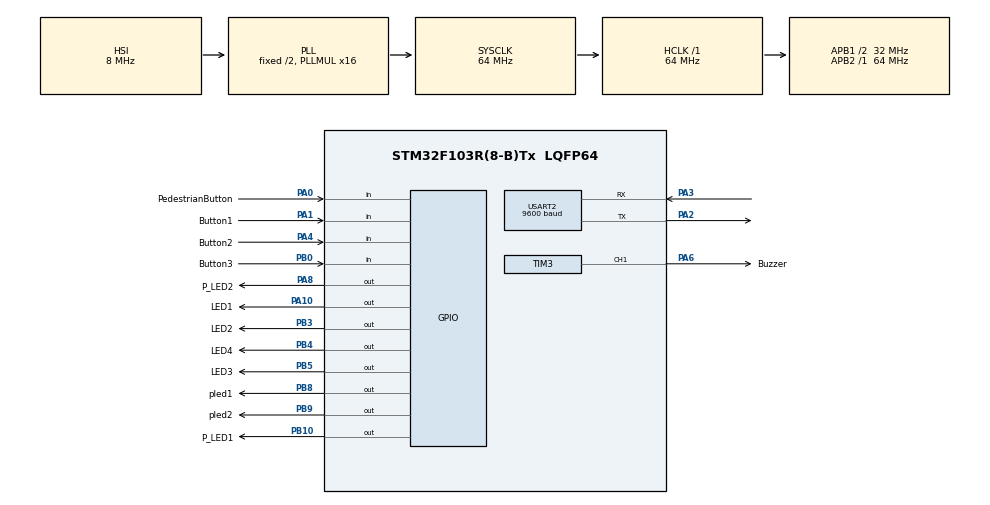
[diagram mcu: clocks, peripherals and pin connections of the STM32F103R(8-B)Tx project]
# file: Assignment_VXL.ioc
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Mcu.Family=STM32F1
Mcu.Name=STM32F103R(8-B)Tx
Mcu.Package=LQFP64
NVIC.PriorityGroup=NVIC_PRIORITYGROUP_4
NVIC.TIM2_IRQn=true\:0\:0\:false\:false\:true\:true\:true
NVIC.USART2_IRQn=true\:0\:0\:false\:false\:true\:true\:true
PA0-WKUP.GPIO_Label=PedestrianButton
PA0-WKUP.GPIO_PuPd=GPIO_PULLUP
PA0-WKUP.Signal=GPIO_Input
PA1.GPIO_Label=Button1
PA1.GPIO_PuPd=GPIO_PULLUP
PA1.Signal=GPIO_Input
PA10.GPIO_Label=LED1
PA10.Signal=GPIO_Output
PA13.Mode=Serial_Wire
PA13.Signal=SYS_JTMS-SWDIO
PA14.Mode=Serial_Wire
PA14.Signal=SYS_JTCK-SWCLK
PA2.Mode=Asynchronous
PA2.Signal=USART2_TX
PA3.Mode=Asynchronous
PA3.Signal=USART2_RX
PA4.GPIO_Label=Button2
PA4.GPIO_PuPd=GPIO_PULLUP
PA4.Signal=GPIO_Input
PA6.GPIO_Label=Buzzer
PA6.Signal=S_TIM3_CH1
PA8.GPIO_Label=P_LED2
PA8.Signal=GPIO_Output
PB0.GPIO_Label=Button3
PB0.GPIO_PuPd=GPIO_PULLUP
PB0.Signal=GPIO_Input
PB10.GPIO_Label=P_LED1
PB10.Signal=GPIO_Output
PB3.GPIO_Label=LED2
PB3.Signal=GPIO_Output
PB4.GPIO_Label=LED4
PB4.Signal=GPIO_Output
PB5.GPIO_Label=LED3
PB5.Signal=GPIO_Output
PB8.GPIO_Label=pled1
PB8.Signal=GPIO_Output
PB9.GPIO_Label=pled2
PB9.Signal=GPIO_Output
ProjectManager.HeapSize=0x200
ProjectManager.StackSize=0x400
ProjectManager.TargetToolchain=STM32CubeIDE
RCC.AHBFreq_Value=64000000
RCC.APB1CLKDivider=RCC_HCLK_DIV2
RCC.APB1Freq_Value=32000000
RCC.APB1TimFreq_Value=64000000
RCC.APB2Freq_Value=64000000
RCC.APB2TimFreq_Value=64000000
RCC.HCLKFreq_Value=64000000
RCC.PLLMUL=RCC_PLL_MUL16
RCC.SYSCLKFreq_VALUE=64000000
RCC.SYSCLKSource=RCC_SYSCLKSOURCE_PLLCLK
RCC.USBFreq_Value=64000000
SH.S_TIM3_CH1.0=TIM3_CH1,PWM Generation1 CH1
TIM2.Period=9999
TIM2.Prescaler=63
TIM3.Channel-PWM\ Generation1\ CH1=TIM_CHANNEL_1
TIM3.Period=999
TIM3.Prescaler=63
USART2.BaudRate=9600
USART2.VirtualMode=VM_ASYNC
VP_TIM2_VS_ClockSourceINT.Mode=Internal
VP_TIM3_VS_ClockSourceINT.Mode=Internal
board=custom

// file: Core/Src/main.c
/* USER CODE BEGIN Header */
/**
  ******************************************************************************
  * @file           : main.c
  * @brief          : Main program body
  ******************************************************************************
  * @attention
  *
  * <h2><center>&copy; Copyright (c) 2022 STMicroelectronics.
  * All rights reserved.</center></h2>
  *
  * This software component is licensed by ST under BSD 3-Clause license,
  * the "License"; You may not use this file except in compliance with the
  * License. You may obtain a copy of the License at:
  *                        opensource.org/licenses/BSD-3-Clause
  *
  ******************************************************************************
  */
/* USER CODE END Header */
#include <Device_Functions.h>
#include "main.h"

/* USER CODE BEGIN Includes */
#include "Software_timer.h"
#include "button.h"
#include "fsm_automatic.h"
#include "fsm_manual.h"
#include "global.h"
#include <stdio.h>
/* USER CODE END Includes */

TIM_HandleTypeDef htim2;
TIM_HandleTypeDef htim3;

UART_HandleTypeDef huart2;

void SystemClock_Config(void);
static void MX_GPIO_Init(void);
static void MX_TIM3_Init(void);
static void MX_TIM2_Init(void);
static void MX_USART2_UART_Init(void);

/* USER CODE BEGIN 0 */
#define MAX_BUFFER_SIZE 30
uint8_t temp = 0;
uint8_t buffer[MAX_BUFFER_SIZE];
uint8_t index_buffer = 0;
uint8_t buffer_flag = 0;

void HAL_UART_RxCpltCallback(UART_HandleTypeDef *huart){
	if(huart->Instance == USART2){

		HAL_UART_Transmit(&huart2, &temp, 1, 50);
		buffer[index_buffer++] = temp;
		if(index_buffer == 30) index_buffer = 0;

		buffer_flag = 1;
		HAL_UART_Receive_IT(&huart2, &temp, 1);
	}
}

/* USER CODE END 0 */

int main(void)
{

  /* MCU Configuration--------------------------------------------------------*/

  /* Reset of all peripherals, Initializes the Flash interface and the Systick. */
  HAL_Init();

  /* Configure the system clock */
  SystemClock_Config();

  /* Initialize all configured peripherals */
  MX_GPIO_Init();
  MX_TIM3_Init();
  MX_TIM2_Init();
  MX_USART2_UART_Init();
  /* USER CODE BEGIN 2 */
  HAL_TIM_PWM_Start(&htim3, TIM_CHANNEL_1);
  HAL_TIM_Base_Start_IT(&htim2);
  HAL_UART_Receive_IT (&huart2 , &temp , 1) ;
  /* USER CODE END 2 */

  /* Infinite loop */
  /* USER CODE BEGIN WHILE */
  Init();

  setTimerBuzzer(10);
  setBuzzerLength(10);
  setTimer2(10);
  setTimer3(10);//for run_time_value
  setTimerUart(10);
  setTimer5(10);

//  char str[20];
  while (1)
  {
	  fsm_automatic_run();
	  fsm_manual_run();
	  uart_run();

    /* USER CODE END WHILE */

  }
}

void SystemClock_Config(void)
{
  RCC_OscInitTypeDef RCC_OscInitStruct = {0};
  RCC_ClkInitTypeDef RCC_ClkInitStruct = {0};

  /** Initializes the RCC Oscillators according to the specified parameters
  * in the RCC_OscInitTypeDef structure.
  */
  RCC_OscInitStruct.OscillatorType = RCC_OSCILLATORTYPE_HSI;
  RCC_OscInitStruct.HSIState = RCC_HSI_ON;
  RCC_OscInitStruct.HSICalibrationValue = RCC_HSICALIBRATION_DEFAULT;
  RCC_OscInitStruct.PLL.PLLState = RCC_PLL_ON;
  RCC_OscInitStruct.PLL.PLLSource = RCC_PLLSOURCE_HSI_DIV2;
  RCC_OscInitStruct.PLL.PLLMUL = RCC_PLL_MUL16;
  if (HAL_RCC_OscConfig(&RCC_OscInitStruct) != HAL_OK)
  {
    Error_Handler();
  }
  /** Initializes the CPU, AHB and APB buses clocks
  */
  RCC_ClkInitStruct.ClockType = RCC_CLOCKTYPE_HCLK|RCC_CLOCKTYPE_SYSCLK
                              |RCC_CLOCKTYPE_PCLK1|RCC_CLOCKTYPE_PCLK2;
  RCC_ClkInitStruct.SYSCLKSource = RCC_SYSCLKSOURCE_PLLCLK;
  RCC_ClkInitStruct.AHBCLKDivider = RCC_SYSCLK_DIV1;
  RCC_ClkInitStruct.APB1CLKDivider = RCC_HCLK_DIV2;
  RCC_ClkInitStruct.APB2CLKDivider = RCC_HCLK_DIV1;

  if (HAL_RCC_ClockConfig(&RCC_ClkInitStruct, FLASH_LATENCY_2) != HAL_OK)
  {
    Error_Handler();
  }
}

static void MX_TIM2_Init(void)
{

  TIM_ClockConfigTypeDef sClockSourceConfig = {0};
  TIM_MasterConfigTypeDef sMasterConfig = {0};

  htim2.Instance = TIM2;
  htim2.Init.Prescaler = 63;
  htim2.Init.CounterMode = TIM_COUNTERMODE_UP;
  htim2.Init.Period = 9999;
  htim2.Init.ClockDivision = TIM_CLOCKDIVISION_DIV1;
  htim2.Init.AutoReloadPreload = TIM_AUTORELOAD_PRELOAD_DISABLE;
  if (HAL_TIM_Base_Init(&htim2) != HAL_OK)
  {
    Error_Handler();
  }
  sClockSourceConfig.ClockSource = TIM_CLOCKSOURCE_INTERNAL;
  if (HAL_TIM_ConfigClockSource(&htim2, &sClockSourceConfig) != HAL_OK)
  {
    Error_Handler();
  }
  sMasterConfig.MasterOutputTrigger = TIM_TRGO_RESET;
  sMasterConfig.MasterSlaveMode = TIM_MASTERSLAVEMODE_DISABLE;
  if (HAL_TIMEx_MasterConfigSynchronization(&htim2, &sMasterConfig) != HAL_OK)
  {
    Error_Handler();
  }

}

static void MX_TIM3_Init(void)
{

  TIM_ClockConfigTypeDef sClockSourceConfig = {0};
  TIM_MasterConfigTypeDef sMasterConfig = {0};
  TIM_OC_InitTypeDef sConfigOC = {0};

  htim3.Instance = TIM3;
  htim3.Init.Prescaler = 63;
  htim3.Init.CounterMode = TIM_COUNTERMODE_UP;
  htim3.Init.Period = 999;
  htim3.Init.ClockDivision = TIM_CLOCKDIVISION_DIV1;
  htim3.Init.AutoReloadPreload = TIM_AUTORELOAD_PRELOAD_DISABLE;
  if (HAL_TIM_Base_Init(&htim3) != HAL_OK)
  {
    Error_Handler();
  }
  sClockSourceConfig.ClockSource = TIM_CLOCKSOURCE_INTERNAL;
  if (HAL_TIM_ConfigClockSource(&htim3, &sClockSourceConfig) != HAL_OK)
  {
    Error_Handler();
  }
  if (HAL_TIM_PWM_Init(&htim3) != HAL_OK)
  {
    Error_Handler();
  }
  sMasterConfig.MasterOutputTrigger = TIM_TRGO_RESET;
  sMasterConfig.MasterSlaveMode = TIM_MASTERSLAVEMODE_DISABLE;
  if (HAL_TIMEx_MasterConfigSynchronization(&htim3, &sMasterConfig) != HAL_OK)
  {
    Error_Handler();
  }
  sConfigOC.OCMode = TIM_OCMODE_PWM1;
  sConfigOC.Pulse = 0;
  sConfigOC.OCPolarity = TIM_OCPOLARITY_HIGH;
  sConfigOC.OCFastMode = TIM_OCFAST_DISABLE;
  if (HAL_TIM_PWM_ConfigChannel(&htim3, &sConfigOC, TIM_CHANNEL_1) != HAL_OK)
  {
    Error_Handler();
  }
  HAL_TIM_MspPostInit(&htim3);

}

static void MX_USART2_UART_Init(void)
{

  huart2.Instance = USART2;
  huart2.Init.BaudRate = 9600;
  huart2.Init.WordLength = UART_WORDLENGTH_8B;
  huart2.Init.StopBits = UART_STOPBITS_1;
  huart2.Init.Parity = UART_PARITY_NONE;
  huart2.Init.Mode = UART_MODE_TX_RX;
  huart2.Init.HwFlowCtl = UART_HWCONTROL_NONE;
  huart2.Init.OverSampling = UART_OVERSAMPLING_16;
  if (HAL_UART_Init(&huart2) != HAL_OK)
  {
    Error_Handler();
  }

}

static void MX_GPIO_Init(void)
{
  GPIO_InitTypeDef GPIO_InitStruct = {0};

  /* GPIO Ports Clock Enable */
  __HAL_RCC_GPIOA_CLK_ENABLE();
  __HAL_RCC_GPIOB_CLK_ENABLE();

  /*Configure GPIO pin Output Level */
  HAL_GPIO_WritePin(GPIOB, P_LED1_Pin|LED2_Pin|LED4_Pin|LED3_Pin
                          |pled1_Pin|pled2_Pin, GPIO_PIN_RESET);

  /*Configure GPIO pin Output Level */
  HAL_GPIO_WritePin(GPIOA, P_LED2_Pin|LED1_Pin, GPIO_PIN_RESET);

  /*Configure GPIO pins : PedestrianButton_Pin Button1_Pin Button2_Pin */
  GPIO_InitStruct.Pin = PedestrianButton_Pin|Button1_Pin|Button2_Pin;
  GPIO_InitStruct.Mode = GPIO_MODE_INPUT;
  GPIO_InitStruct.Pull = GPIO_PULLUP;
  HAL_GPIO_Init(GPIOA, &GPIO_InitStruct);

  /*Configure GPIO pin : Button3_Pin */
  GPIO_InitStruct.Pin = Button3_Pin;
  GPIO_InitStruct.Mode = GPIO_MODE_INPUT;
  GPIO_InitStruct.Pull = GPIO_PULLUP;
  HAL_GPIO_Init(Button3_GPIO_Port, &GPIO_InitStruct);

  /*Configure GPIO pins : P_LED1_Pin LED2_Pin LED4_Pin LED3_Pin
                           pled1_Pin pled2_Pin */
  GPIO_InitStruct.Pin = P_LED1_Pin|LED2_Pin|LED4_Pin|LED3_Pin
                          |pled1_Pin|pled2_Pin;
  GPIO_InitStruct.Mode = GPIO_MODE_OUTPUT_PP;
  GPIO_InitStruct.Pull = GPIO_NOPULL;
  GPIO_InitStruct.Speed = GPIO_SPEED_FREQ_LOW;
  HAL_GPIO_Init(GPIOB, &GPIO_InitStruct);

  /*Configure GPIO pins : P_LED2_Pin LED1_Pin */
  GPIO_InitStruct.Pin = P_LED2_Pin|LED1_Pin;
  GPIO_InitStruct.Mode = GPIO_MODE_OUTPUT_PP;
  GPIO_InitStruct.Pull = GPIO_NOPULL;
  GPIO_InitStruct.Speed = GPIO_SPEED_FREQ_LOW;
  HAL_GPIO_Init(GPIOA, &GPIO_InitStruct);

}

/* USER CODE BEGIN 4 */
void HAL_TIM_PeriodElapsedCallback (TIM_HandleTypeDef * htim)
{
	timerRun();
	getKeyInput();
}

//void Uart_Run(){
//	if(timer5_flag==1){
//		setTimer5(1000);
//		HAL_UART_Transmit(&huart2, (void *)str, sprintf(str,"%d\r\n",time_value), 1000);
//	}
//
//}
/* USER CODE END 4 */

void Error_Handler(void)
{
  __disable_irq();
  while (1)
  {
  }
}

/************************ (C) COPYRIGHT STMicroelectronics *****END OF FILE****/
